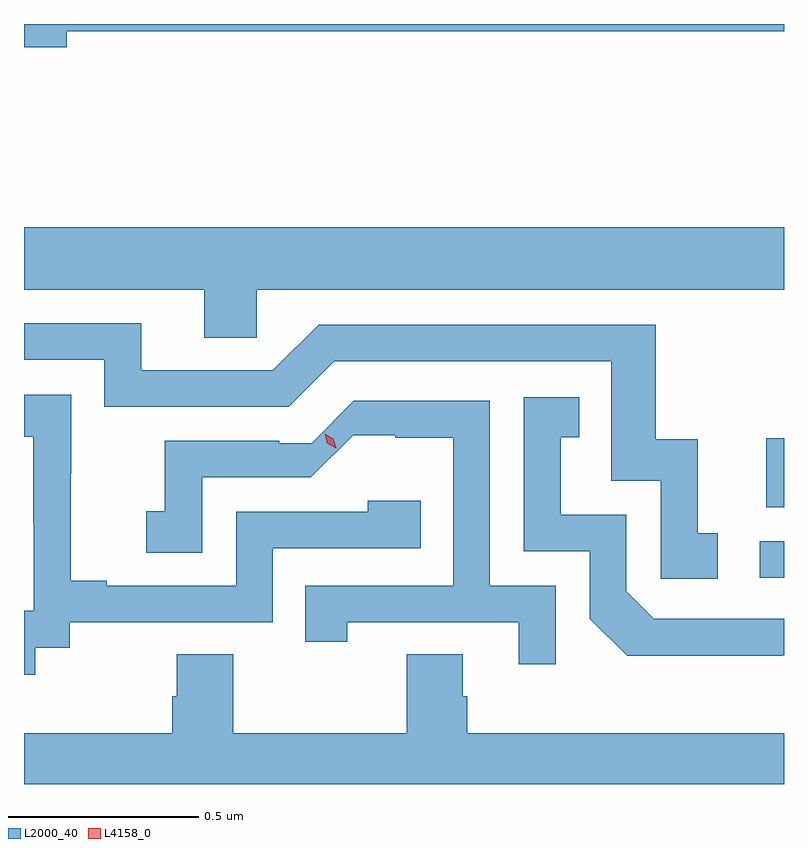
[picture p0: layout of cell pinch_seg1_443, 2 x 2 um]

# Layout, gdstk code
import gdstk
lib = gdstk.Library(unit=1e-6, precision=1e-09)
def R(c, l, rs):  # rectangles x0, y0, x1, y1
    for r in rs: c.add(gdstk.rectangle(r[:2], r[2:], *l))
def P(c, l, *ps):  # polygons
    for p in ps: c.add(gdstk.Polygon(p, *l))
L2000_40 = (2000, 40)
L4158_0 = (4158, 0)

pinch_seg1_443 = lib.new_cell('pinch_seg1_443')
R(pinch_seg1_443, L2000_40, [(898.815,515.01,898.879,515.106), (898.832,515.195,898.879,515.377)])
P(pinch_seg1_443, L2000_40, [(896.992,516.448),(898.879,516.448),(898.879,516.467),(896.879,516.467),(896.879,516.406),(896.992,516.406)],
  [(897.492,515.768),(898.879,515.768),(898.879,515.932),(896.879,515.932),(896.879,515.768),(897.353,515.768),(897.353,515.641),(897.492,515.641)],
  [(898.705,515.127),(898.652,515.127),(898.652,515.374),(898.541,515.374),(898.541,515.676),(897.654,515.676),(897.534,515.556),(897.187,515.556),(897.187,515.679),(896.879,515.679),(896.879,515.583),(897.09,515.583),(897.09,515.46),(897.576,515.46),(897.696,515.58),(898.425,515.58),(898.425,515.265),(898.554,515.265),(898.554,515.007),(898.705,515.007)],
  [(896.908,514.825),(897,514.825),(897,514.893),(897.534,514.893),(897.534,515.088),(897.923,515.088),(897.923,515.212),(897.783,515.212),(897.783,515.184),(897.438,515.184),(897.438,514.989),(897.097,514.989),(897.097,515.002),(897.002,515.002),(897.002,515.285),(897.003,515.285),(897.003,515.491),(896.879,515.491),(896.879,515.381),(896.903,515.381),(896.903,515.153),(896.904,515.153),(896.904,514.923),(896.879,514.923),(896.879,514.755),(896.908,514.755)],
  [(898.874,514.806),(898.879,514.806),(898.879,514.902),(898.536,514.902),(898.464,514.974),(898.464,515.175),(898.291,515.175),(898.291,515.379),(898.34,515.379),(898.34,515.485),(898.194,515.485),(898.194,515.079),(898.368,515.079),(898.368,514.902),(898.466,514.805),(898.874,514.805)],
  [(898.278,514.989),(898.104,514.989),(898.104,515.475),(897.747,515.475),(897.636,515.364),(897.551,515.364),(897.551,515.37),(897.25,515.37),(897.25,515.185),(897.201,515.185),(897.201,515.076),(897.348,515.076),(897.348,515.274),(897.634,515.274),(897.745,515.385),(897.856,515.385),(897.856,515.378),(898.008,515.378),(898.008,514.989),(897.619,514.989),(897.619,514.842),(897.73,514.842),(897.73,514.893),(898.181,514.893),(898.181,514.782),(898.278,514.782)],
  [(898.879,514.6),(898.046,514.6),(898.046,514.698),(898.033,514.698),(898.033,514.808),(897.886,514.808),(897.886,514.6),(897.429,514.6),(897.429,514.808),(897.281,514.808),(897.281,514.698),(897.269,514.698),(897.269,514.6),(896.879,514.6),(896.879,514.467),(898.879,514.467)])
P(pinch_seg1_443, L4158_0, [(897.7,515.351),(897.677,515.364),(897.67,515.389),(897.67,515.389),(897.67,515.389),(897.693,515.376),(897.701,515.352),(897.701,515.351)])

lib.write_gds('pinch_seg1_443.gds')
